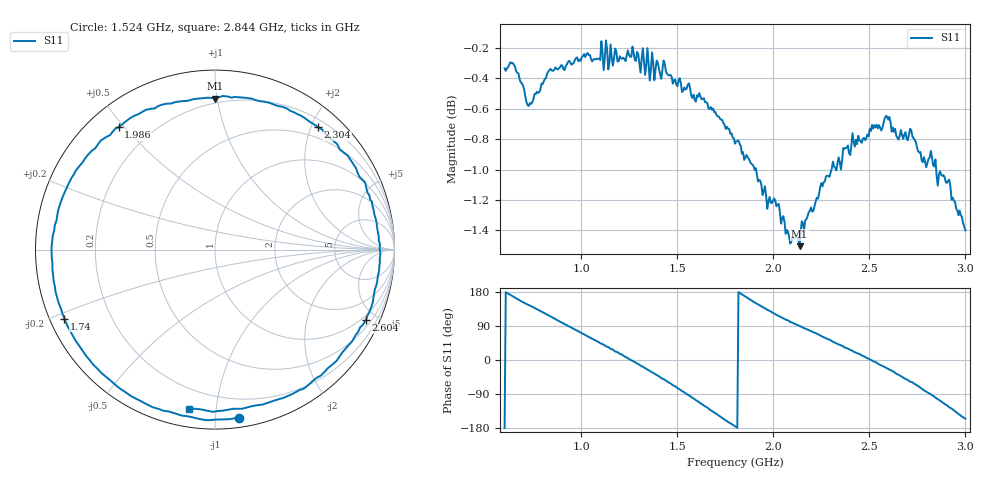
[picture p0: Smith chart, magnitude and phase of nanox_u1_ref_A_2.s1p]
! nanovna_capture.py 2026-10-18T19:26:16+0900
! NanoVNA-F_V2 fw 0.6.0 SN 4A3639384505514B
! cal: load open short cal'ed  over 600000000-3000000000 Hz, 201 points
! points 401, avg 4
! genuine Nano X u1, position A (behind left button), tip touching shell, placement 2
# HZ S RI R 50
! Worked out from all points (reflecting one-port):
!   401 points, 600 MHz to 3 GHz, reference 50 ohm
!   lowest |S11| = -1.5 dB at 2.136 GHz (marker M1), VSWR 11.58, Z = 8.57 + j49.3 ohm
!   phase of S11 starts at -180 deg and turns -695 deg over the sweep
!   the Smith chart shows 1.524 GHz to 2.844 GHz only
!   S11 on the Smith chart (normalised r, x): 1.524 GHz: 0.07, -1.15; 1.74 GHz: 0.04, -0.22; 1.986 GHz: 0.09, +0.48; 2.304 GHz: 0.32, +2.11; 2.604 GHz: 0.77, -4.36; 2.844 GHz: 0.09, -0.84
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6e8  -0.962 -0.00654
6.6e8  -0.9176 0.2829
7.56e8  -0.6948 0.6385
9e8  -0.1371 0.9545
1.032e9  0.449 0.8636
1.116e9  0.7319 0.6225
1.2e9  0.9317 0.2731
1.26e9  0.9704 -0.014
1.332e9  0.89 -0.3527
1.422e9  0.6263 -0.7288
1.5e9  0.2633 -0.912
1.524e9  0.1312 -0.9359
1.626e9  -0.4126 -0.8444
1.74e9  -0.8391 -0.3844
1.8e9  -0.9058 -0.0749
1.878e9  -0.8406 0.3123
1.986e9  -0.5375 0.6832
2.1e9  -0.1201 0.8381
2.136e9  0.000107 0.8411
2.304e9  0.5745 0.682
2.4e9  0.8037 0.4074
2.514e9  0.9216 -0.0202
2.604e9  0.8396 -0.3938
2.7e9  0.5516 -0.7253
2.778e9  0.1941 -0.8749
2.844e9  -0.1467 -0.886
2.916e9  -0.5077 -0.7242
3e9  -0.7714 -0.3597
